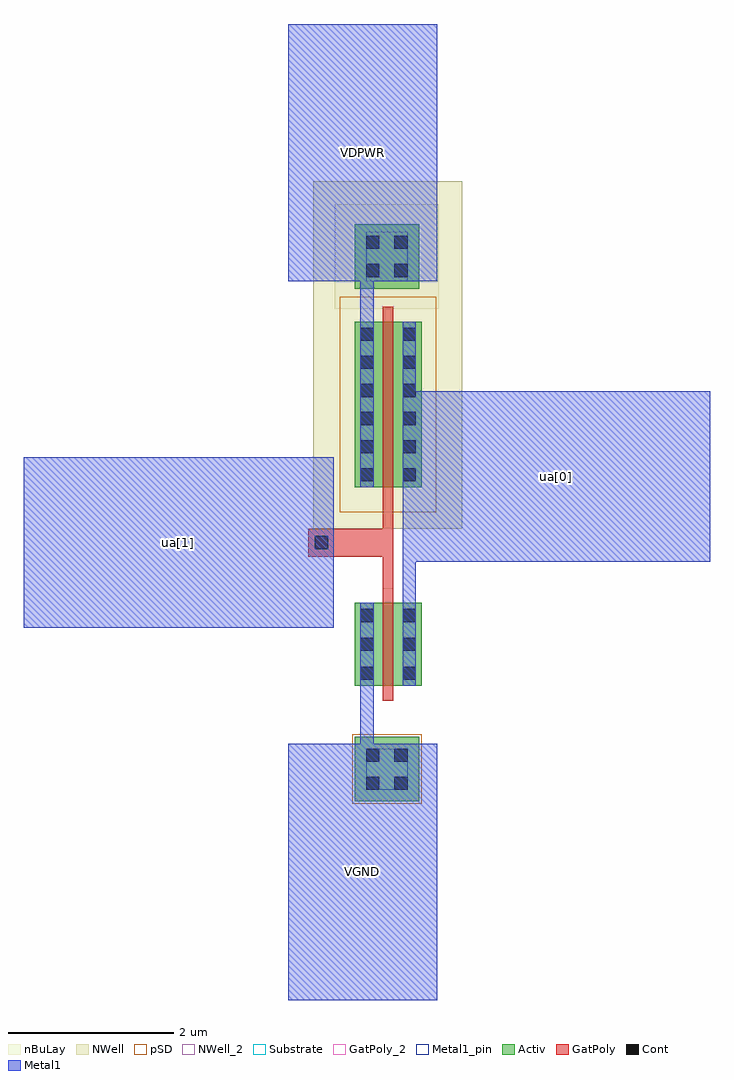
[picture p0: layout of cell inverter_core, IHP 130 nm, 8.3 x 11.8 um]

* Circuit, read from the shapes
.subckt inverter_core VDPWR VGND ua[0] ua[1]
XM1 ua[0] ua[1] VGND VGND sg13_lv_nmos w=1u l=0.13u
XM2 ua[0] ua[1] VDPWR VDPWR sg13_lv_pmos w=2u l=0.13u
.ends

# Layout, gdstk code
import gdstk
lib = gdstk.Library(unit=1e-6, precision=1e-09)
def R(c, l, rs):  # rectangles x0, y0, x1, y1
    for r in rs: c.add(gdstk.rectangle(r[:2], r[2:], *l))
def A(c, l, x, y, w, h, nx, ny, dx, dy):  # array of equal rectangles
    R(c, l, [(x+i*dx, y+j*dy, x+i*dx+w, y+j*dy+h) for i in range(nx) for j in range(ny)])
Activ = (1, 0)
GatPoly = (5, 0)
GatPoly_2 = (5, 2)
Cont = (6, 0)
Metal1 = (8, 0)
Metal1_pin = (8, 2)
pSD = (14, 0)
NWell = (31, 0)
NWell_2 = (31, 2)
nBuLay = (32, 0)
Substrate = (40, 0)

ptap1 = lib.new_cell('ptap1')
R(ptap1, Activ, [(0,0,0.78,0.78)])
R(ptap1, Cont, [(0.14,0.14,0.3,0.3), (0.48,0.14,0.64,0.3), (0.14,0.48,0.3,0.64), (0.48,0.48,0.64,0.64)])
R(ptap1, Metal1, [(0.14,0.09,0.64,0.69), (0.14,0.14,0.64,0.64)])
R(ptap1, Metal1_pin, [(0.14,0.14,0.64,0.64)])
R(ptap1, pSD, [(-0.03,-0.03,0.81,0.81)])
R(ptap1, Substrate, [(0,0,0.78,0.78)])
ptap1.add(gdstk.Label('sub!', (0.39,0.01), layer=63, texttype=0))
ptap1.add(gdstk.Label('sub!', (0.39,0.01), layer=40, texttype=0))

nmos = lib.new_cell('nmos')
R(nmos, Activ, [(0,0,0.3,0.3), (0,0,0.81,1), (0.51,0,0.81,0.3)])
R(nmos, GatPoly, [(0.34,-0.18,0.47,1.18)])
R(nmos, GatPoly_2, [(0.34,-0.18,0.47,1.18)])
A(nmos, Cont, 0.07, 0.07, 0.16, 0.16, 1, 3, 0, 0.35)
A(nmos, Cont, 0.58, 0.07, 0.16, 0.16, 1, 3, 0, 0.35)
R(nmos, Metal1, [(0.07,0,0.23,1), (0.58,0,0.74,1)])
R(nmos, Metal1_pin, [(0.07,0,0.23,1), (0.58,0,0.74,1)])
nmos.add(gdstk.Label('nmos', (0.405,0.5), layer=63, texttype=0))

pmos = lib.new_cell('pmos')
R(pmos, Activ, [(0,0,0.3,0.3), (0,0,0.81,2), (0.51,0,0.81,0.3)])
R(pmos, GatPoly, [(0.34,-0.18,0.47,2.18), (0.34,-0.18,0.47,2.18)])
A(pmos, Cont, 0.07, 0.07, 0.16, 0.16, 1, 6, 0, 0.34)
A(pmos, Cont, 0.58, 0.07, 0.16, 0.16, 1, 6, 0, 0.34)
R(pmos, Metal1, [(0.07,0,0.23,2), (0.07,0,0.23,2), (0.58,0,0.74,2), (0.58,0,0.74,2)])
R(pmos, pSD, [(-0.18,-0.3,0.99,2.3)])
R(pmos, NWell, [(-0.31,-0.31,1.12,2.31)])
pmos.add(gdstk.Label('pmos', (0.405,1), layer=63, texttype=0))

ntap1 = lib.new_cell('ntap1')
R(ntap1, Activ, [(0,0,0.78,0.78)])
R(ntap1, Cont, [(0.14,0.14,0.3,0.3), (0.48,0.14,0.64,0.3), (0.14,0.48,0.3,0.64), (0.48,0.48,0.64,0.64)])
R(ntap1, Metal1, [(0.14,0.09,0.64,0.69)])
R(ntap1, Metal1_pin, [(0.14,0.09,0.64,0.69), (0.14,0.14,0.64,0.64)])
R(ntap1, NWell, [(-0.24,-0.24,1.02,1.02), (0,0,0.78,0.78)])
R(ntap1, NWell_2, [(0,0,0.78,0.78)])
R(ntap1, nBuLay, [(-0.24,-0.24,1.02,1.02)])
ntap1.add(gdstk.Label('well', (0.39,0.01), layer=63, texttype=0))
ntap1.add(gdstk.Label('well', (0.39,0.01), layer=31, texttype=0))

inverter_core = lib.new_cell('inverter_core')
R(inverter_core, GatPoly, [(0.34,1.18,0.47,2.22), (-0.56,1.56,0.47,1.9)])
R(inverter_core, Cont, [(-0.48,1.65,-0.32,1.81)])
R(inverter_core, Metal1, [(-0.8,-3.8,1,-0.7), (0.07,-1.31,0.23,1), (0.58,0,0.74,4.4), (-4,0.7,-0.25,2.76), (0.58,1.5,4.3,3.56), (0.07,2.4,0.23,5.49), (-0.8,4.89,1,8)])
R(inverter_core, NWell, [(-0.5,1.9,1.3,6.1)])
inverter_core.add(gdstk.Reference(ptap1, (0,-1.4)))
inverter_core.add(gdstk.Reference(nmos, (0,0)))
inverter_core.add(gdstk.Reference(pmos, (0,2.4)))
inverter_core.add(gdstk.Reference(ntap1, (0,4.8)))
inverter_core.add(gdstk.Label('ua[1]', (-2.125,1.73), layer=8, texttype=25))
inverter_core.add(gdstk.Label('ua[0]', (2.44,2.53), layer=8, texttype=25))
inverter_core.add(gdstk.Label('VDPWR', (0.1,6.445), layer=8, texttype=25))
inverter_core.add(gdstk.Label('VGND', (0.1,-2.25), layer=8, texttype=25))

lib.write_gds('inverter_core.gds')
